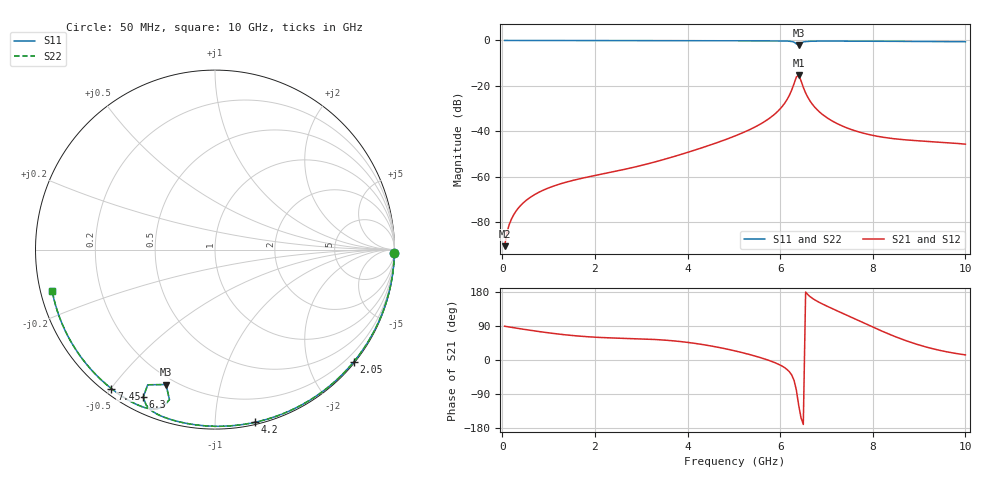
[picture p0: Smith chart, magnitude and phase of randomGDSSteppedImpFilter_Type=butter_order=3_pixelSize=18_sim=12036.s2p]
! freq	dB(S11)	phase(S11)	dB(S12)	phase(S12)
!  dB(S21)	phase(S21)	dB(S22)	phase(S22)
!S-par simulation data
#  GHz  S  DB  R 50
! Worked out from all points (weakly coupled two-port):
!   200 points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, 50 MHz to 10 GHz, reference 50 ohm
!   highest |S21| = -15.26 dB at 6.4 GHz (marker M1); lowest = -90.5 dB at 50 MHz (marker M2)
!   lowest |S11| = -1.9 dB at 6.4 GHz (marker M3), VSWR 9.00, Z = 8.24 - j34.4 ohm
!   |S11| at or under -10 dB: nowhere
!   |S22| runs from -1.9 to 0.0 dB; largest |S21 - S12| = 0
!   S11 on the Smith chart (normalised r, x): 50 MHz: open; 2.05 GHz: 0.03, -2.83; 4.2 GHz: 0.02, -1.26; 6.3 GHz: 0.06, -0.62; 7.45 GHz: 0.02, -0.50; 10 GHz: 0.03, -0.13
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0.05  -0.00 -1.0  -90.53 89.1  -90.53 89.1  -0.00 -1.0
0.15  -0.00 -2.9  -81.00 87.1  -81.00 87.1  -0.00 -2.9
0.4  -0.01 -7.7  -72.54 82.2  -72.54 82.2  -0.01 -7.7
0.7  -0.02 -13.5  -67.81 76.7  -67.81 76.7  -0.02 -13.5
1.15  -0.03 -22.1  -63.78 69.4  -63.78 69.4  -0.03 -22.1
1.75  -0.04 -33.3  -60.51 62.2  -60.51 62.2  -0.04 -33.3
2.05  -0.05 -38.9  -59.22 59.9  -59.22 59.9  -0.05 -38.9
3.4  -0.08 -63.1  -52.88 53.4  -52.88 53.4  -0.08 -63.1
4.2  -0.11 -76.8  -47.97 43.2  -47.97 43.2  -0.11 -76.8
5.05  -0.14 -91.0  -41.83 23.3  -41.83 23.3  -0.14 -91.0
5.55  -0.17 -99.3  -37.07 7.1  -37.07 7.1  -0.17 -99.3
5.9  -0.20 -105.4  -32.11 -7.8  -32.11 -7.8  -0.20 -105.4
6.15  -0.29 -110.7  -25.97 -25.1  -25.97 -25.1  -0.29 -110.8
6.3  -0.78 -115.9  -19.02 -53.6  -19.02 -53.6  -0.78 -115.9
6.35  -1.50 -116.5  -16.08 -79.3  -16.08 -79.3  -1.50 -116.5
6.4  -1.94 -109.9  -15.26 -119.3  -15.26 -119.3  -1.94 -110.0
6.5  -0.70 -108.3  -20.63 -170.1  -20.63 -170.1  -0.70 -108.3
6.7  -0.33 -113.8  -28.20 162.4  -28.20 162.4  -0.33 -113.9
7  -0.28 -119.4  -33.86 142.7  -33.86 142.7  -0.28 -119.4
7.45  -0.30 -126.7  -38.55 117.5  -38.55 117.5  -0.30 -126.7
8.35  -0.37 -140.4  -42.97 68.4  -42.97 68.4  -0.37 -140.4
10  -0.57 -165.6  -45.64 13.5  -45.64 13.5  -0.57 -165.6
